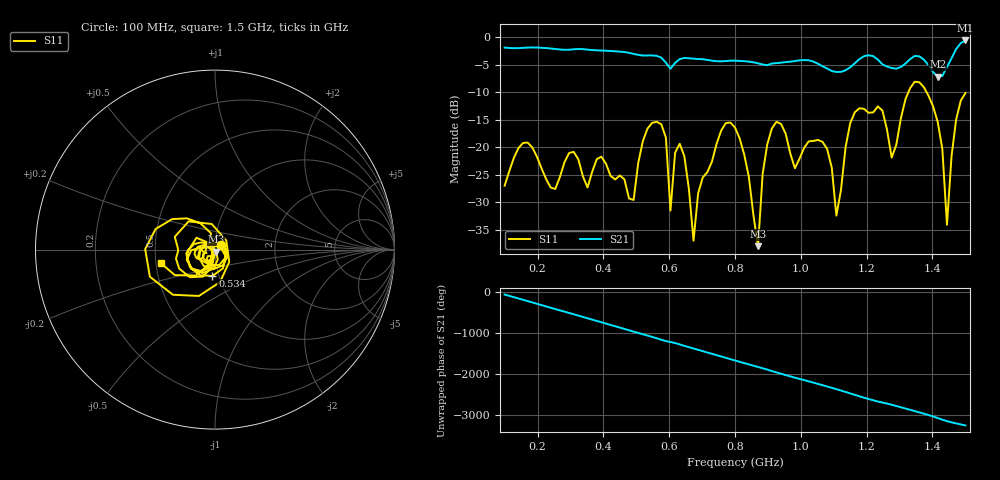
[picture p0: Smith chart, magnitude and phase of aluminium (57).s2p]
! NanoVNA-App
! Date: 2025-09-26 09:58:30
! Start: 100MHz Stop: 1,5GHz Points: 101
! S-Parameter data: F S11 S21 S12 S22
# Hz S RI R 50
!  Frequency  S11_Real  S11_Imag  S21_Real  S21_Imag  S12_Real  S12_Imag  S22_Real  S22_Imag
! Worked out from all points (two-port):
!   101 points, 100 MHz to 1.5 GHz, reference 50 ohm
!   highest |S21| = -0.62 dB at 1.5 GHz (marker M1); lowest = -7.2 dB at 1.416 GHz (marker M2)
!   |S21| within 3 dB of the highest: start of sweep to 571.1 MHz; 1.188 GHz to 1.224 GHz (35.39 MHz wide, 2.94 % of centre)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
!   lowest |S11| = -37.9 dB at 870 MHz (marker M3), VSWR 1.03, Z = 50.6 - j1.14 ohm
!   |S11| at or under -10 dB: start of sweep to 1.327 GHz; 1.382 GHz to end of sweep
!   S12 and S22 are empty: the file has one direction only
!   S11 on the Smith chart (normalised r, x): 100 MHz: 1.07, +0.06; 534 MHz: 0.93, -0.28; 1.5 GHz: 0.53, -0.09
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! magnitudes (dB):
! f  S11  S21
! 100 MHz  -27.0  -1.9
! 156 MHz  -19.2  -2.0
! 338 MHz  -25.3  -2.2
! 492 MHz  -29.6  -3.1
! 534 MHz  -16.6  -3.3
! 576 MHz  -15.8  -3.7
! 604 MHz  -31.5  -5.8
! 632 MHz  -19.4  -4.0
! 674 MHz  -36.9  -3.9
! 702 MHz  -25.5  -4.0
! 800 MHz  -16.4  -4.3
! 870 MHz  -37.9  -4.8
! 912 MHz  -16.6  -4.8
! 1.038 GHz  -18.8  -4.5
! 1.108 GHz  -32.4  -6.3
! 1.164 GHz  -13.6  -4.8
! 1.276 GHz  -21.9  -5.6
! 1.346 GHz  -8.1  -3.4
! 1.416 GHz  -15.4  -7.2
! 1.444 GHz  -34.1  -5.4
! 1.472 GHz  -14.9  -2.2
! 1.5 GHz  -10.2  -0.6
